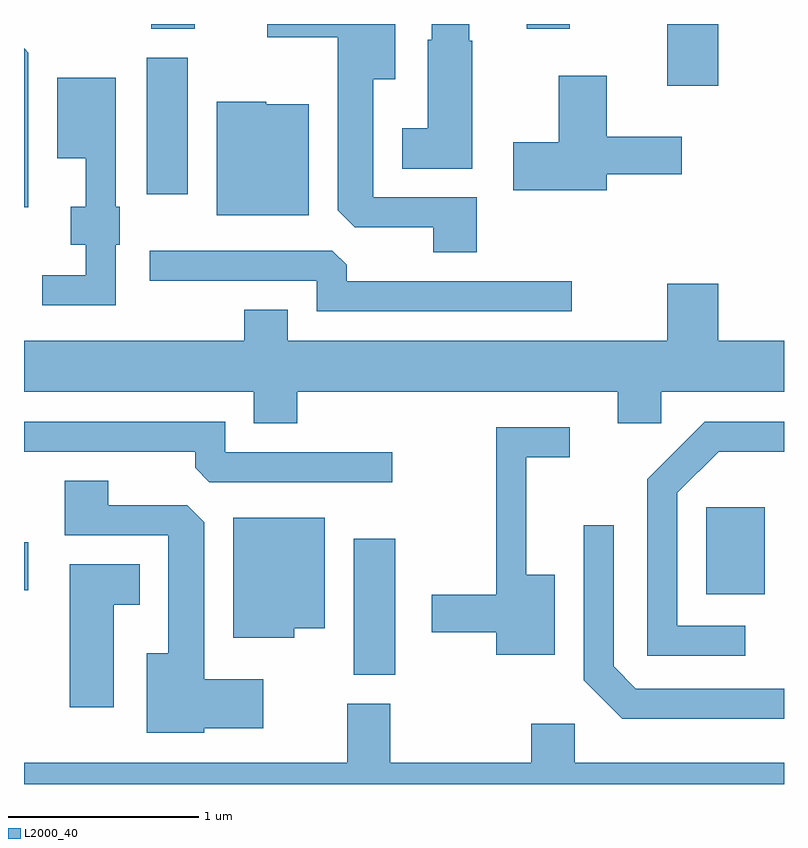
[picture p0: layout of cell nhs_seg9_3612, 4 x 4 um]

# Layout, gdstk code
import gdstk
lib = gdstk.Library(unit=1e-6, precision=1e-09)
def R(c, l, rs):  # rectangles x0, y0, x1, y1
    for r in rs: c.add(gdstk.rectangle(r[:2], r[2:], *l))
def P(c, l, *ps):  # polygons
    for p in ps: c.add(gdstk.Polygon(p, *l))
L2000_40 = (2000, 40)

nhs_seg9_3612 = lib.new_cell('nhs_seg9_3612')
R(nhs_seg9_3612, L2000_40, [(293.346,1977.006,293.564,1977.724), (295.201,1977.431,295.509,1977.889), (291.611,1977.451,291.634,1977.704), (292.256,1979.536,292.474,1980.254), (294.996,1980.106,295.264,1980.432), (292.281,1980.406,292.509,1980.432), (294.256,1980.406,294.484,1980.432)])
P(nhs_seg9_3612, L2000_40, [(293.969,1980.345),(293.954,1980.345),(293.954,1980.432),(293.756,1980.432),(293.756,1980.349),(293.736,1980.349),(293.736,1979.884),(293.601,1979.884),(293.601,1979.671),(293.969,1979.671)],
  [(293.994,1979.519),(293.449,1979.519),(293.449,1980.141),(293.564,1980.141),(293.564,1980.432),(292.891,1980.432),(292.891,1980.361),(293.261,1980.361),(293.261,1979.452),(293.352,1979.361),(293.766,1979.361),(293.766,1979.231),(293.994,1979.231)],
  [(291.634,1980.282),(291.611,1980.305),(291.611,1979.468),(291.634,1979.468)],
  [(294.679,1979.641),(295.074,1979.641),(295.074,1979.839),(294.679,1979.839),(294.679,1980.159),(294.426,1980.159),(294.426,1979.809),(294.186,1979.809),(294.186,1979.556),(294.679,1979.556)],
  [(292.094,1979.271),(292.114,1979.271),(292.114,1979.469),(292.094,1979.469),(292.094,1980.149),(291.786,1980.149),(291.786,1979.726),(291.936,1979.726),(291.936,1979.469),(291.856,1979.469),(291.856,1979.271),(291.936,1979.271),(291.936,1979.109),(291.708,1979.109),(291.708,1978.951),(292.094,1978.951)],
  [(293.109,1980.009),(292.885,1980.009),(292.885,1980.024),(292.626,1980.024),(292.626,1979.426),(293.109,1979.426)],
  [(294.493,1979.079),(293.309,1979.079),(293.309,1979.164),(293.234,1979.239),(292.273,1979.239),(292.273,1979.081),(293.151,1979.081),(293.151,1978.921),(294.493,1978.921)],
  [(293.049,1978.496),(294.736,1978.496),(294.736,1978.331),(294.964,1978.331),(294.964,1978.496),(295.611,1978.496),(295.611,1978.764),(295.264,1978.764),(295.264,1979.064),(294.996,1979.064),(294.996,1978.764),(292.999,1978.764),(292.999,1978.929),(292.771,1978.929),(292.771,1978.764),(291.611,1978.764),(291.611,1978.496),(292.821,1978.496),(292.821,1978.331),(293.049,1978.331)],
  [(293.548,1978.179),(292.669,1978.179),(292.669,1978.339),(291.611,1978.339),(291.611,1978.181),(292.511,1978.181),(292.511,1978.097),(292.587,1978.021),(293.548,1978.021)],
  [(295.408,1977.264),(295.049,1977.264),(295.049,1977.964),(295.267,1978.181),(295.611,1978.181),(295.611,1978.339),(295.194,1978.339),(294.891,1978.037),(294.891,1977.106),(295.408,1977.106)],
  [(294.404,1977.534),(294.254,1977.534),(294.254,1978.151),(294.483,1978.151),(294.483,1978.309),(294.096,1978.309),(294.096,1977.429),(293.756,1977.429),(293.756,1977.231),(294.096,1977.231),(294.096,1977.111),(294.404,1977.111)],
  [(292.559,1976.726),(292.869,1976.726),(292.869,1976.984),(292.559,1976.984),(292.559,1977.809),(292.469,1977.899),(292.054,1977.899),(292.054,1978.029),(291.826,1978.029),(291.826,1977.741),(292.371,1977.741),(292.371,1977.119),(292.256,1977.119),(292.256,1976.701),(292.559,1976.701)],
  [(293.034,1977.251),(293.194,1977.251),(293.194,1977.834),(292.711,1977.834),(292.711,1977.201),(293.034,1977.201)],
  [(295.611,1976.934),(294.832,1976.934),(294.714,1977.052),(294.714,1977.793),(294.556,1977.793),(294.556,1976.979),(294.759,1976.776),(295.611,1976.776)],
  [(292.084,1977.376),(292.219,1977.376),(292.219,1977.589),(291.851,1977.589),(291.851,1976.836),(292.084,1976.836)],
  [(295.611,1976.544),(294.509,1976.544),(294.509,1976.749),(294.281,1976.749),(294.281,1976.544),(293.539,1976.544),(293.539,1976.854),(293.311,1976.854),(293.311,1976.544),(291.611,1976.544),(291.611,1976.432),(295.611,1976.432)])

lib.write_gds('nhs_seg9_3612.gds')
